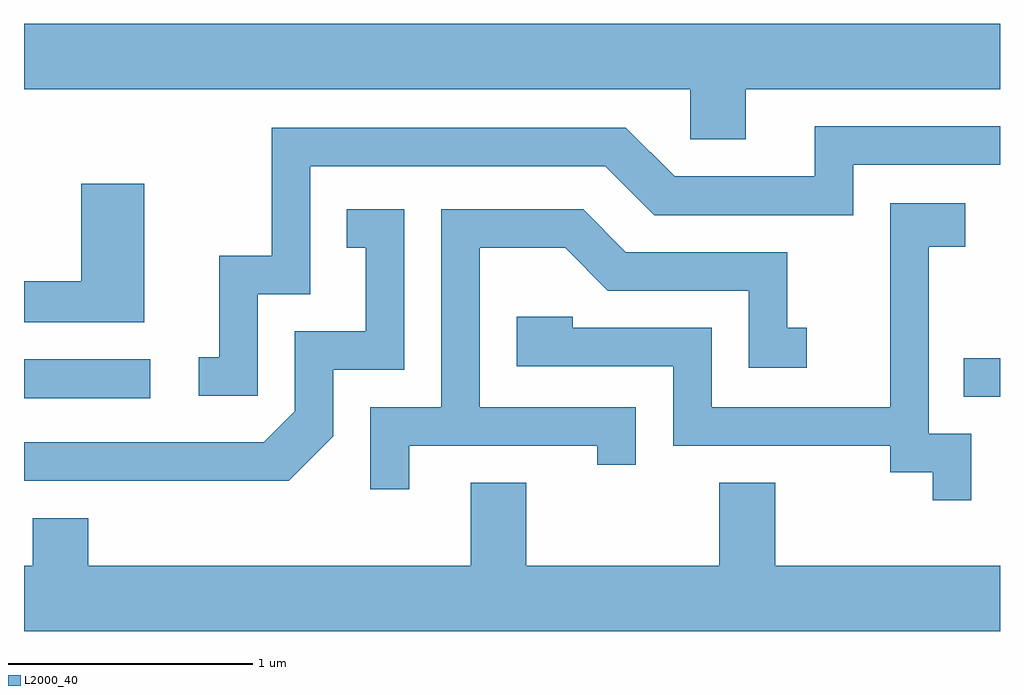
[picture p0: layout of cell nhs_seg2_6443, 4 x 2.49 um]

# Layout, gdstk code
import gdstk
lib = gdstk.Library(unit=1e-6, precision=1e-09)
def R(c, l, rs):  # rectangles x0, y0, x1, y1
    for r in rs: c.add(gdstk.rectangle(r[:2], r[2:], *l))
def P(c, l, *ps):  # polygons
    for p in ps: c.add(gdstk.Polygon(p, *l))
L2000_40 = (2000, 40)

nhs_seg2_6443 = lib.new_cell('nhs_seg2_6443')
R(nhs_seg2_6443, L2000_40, [(375.611,1013.751,376.128,1013.909), (379.463,1013.756,379.611,1013.914)])
P(nhs_seg2_6443, L2000_40, [(378.569,1015.016),(379.611,1015.016),(379.611,1015.284),(375.611,1015.284),(375.611,1015.016),(378.341,1015.016),(378.341,1014.811),(378.569,1014.811)],
  [(376.569,1014.176),(376.784,1014.176),(376.784,1014.701),(377.994,1014.701),(378.194,1014.501),(379.009,1014.501),(379.009,1014.706),(379.611,1014.706),(379.611,1014.864),(378.851,1014.864),(378.851,1014.659),(378.277,1014.659),(378.077,1014.859),(376.626,1014.859),(376.626,1014.334),(376.411,1014.334),(376.411,1013.919),(376.328,1013.919),(376.328,1013.761),(376.569,1013.761)],
  [(376.104,1014.629),(375.846,1014.629),(375.846,1014.229),(375.611,1014.229),(375.611,1014.061),(376.104,1014.061)],
  [(379.494,1013.604),(379.319,1013.604),(379.319,1014.371),(379.469,1014.371),(379.469,1014.549),(379.161,1014.549),(379.161,1013.714),(378.429,1013.714),(378.429,1014.039),(377.859,1014.039),(377.859,1014.084),(377.631,1014.084),(377.631,1013.881),(378.271,1013.881),(378.271,1013.556),(379.161,1013.556),(379.161,1013.446),(379.336,1013.446),(379.336,1013.333),(379.494,1013.333)],
  [(376.879,1013.594),(376.879,1013.866),(377.169,1013.866),(377.169,1014.524),(376.933,1014.524),(376.933,1014.366),(377.011,1014.366),(377.011,1014.024),(376.721,1014.024),(376.721,1013.697),(376.594,1013.569),(375.611,1013.569),(375.611,1013.411),(376.697,1013.411)],
  [(377.189,1013.556),(377.961,1013.556),(377.961,1013.478),(378.119,1013.478),(378.119,1013.714),(377.479,1013.714),(377.479,1014.366),(377.829,1014.366),(378.004,1014.191),(378.581,1014.191),(378.581,1013.876),(378.818,1013.876),(378.818,1014.039),(378.739,1014.039),(378.739,1014.349),(378.077,1014.349),(377.902,1014.524),(377.321,1014.524),(377.321,1013.714),(377.031,1013.714),(377.031,1013.378),(377.189,1013.378)],
  [(379.611,1013.064),(378.689,1013.064),(378.689,1013.404),(378.461,1013.404),(378.461,1013.064),(377.669,1013.064),(377.669,1013.404),(377.441,1013.404),(377.441,1013.064),(375.874,1013.064),(375.874,1013.259),(375.646,1013.259),(375.646,1013.064),(375.611,1013.064),(375.611,1012.796),(379.611,1012.796)])

lib.write_gds('nhs_seg2_6443.gds')
